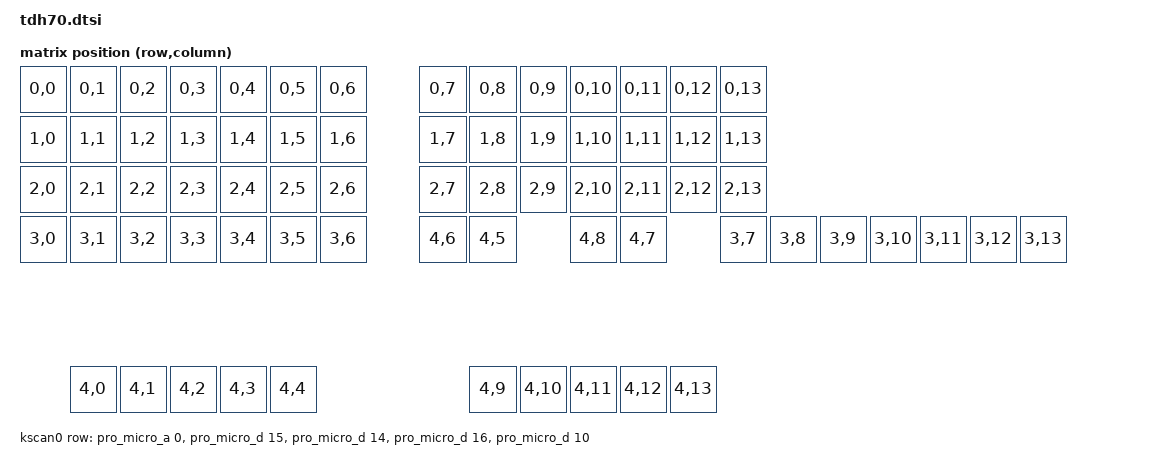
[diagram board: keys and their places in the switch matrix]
/*
 * Copyright (c) 2020 Denis Fortin
 *
 * SPDX-License-Identifier: MIT
 */

#include <dt-bindings/zmk/matrix_transform.h>
#include <physical_layouts.dtsi>

/ {
    chosen {
        zmk,kscan = &kscan0;
        zmk,physical-layout = &physical_layout0;
    };

    default_transform: keymap_transform_0 {
        compatible = "zmk,matrix-transform";
        columns = <16>;
        rows = <5>;
// | SW6  | SW5  | SW4  | SW3  | SW2  | SW1  |                 | SW1  | SW2  | SW3  | SW4  | SW5  | SW6  |
// | SW12 | SW11 | SW10 | SW9  | SW8  | SW7  |                 | SW7  | SW8  | SW9  | SW10 | SW11 | SW12 |
// | SW18 | SW17 | SW16 | SW15 | SW14 | SW13 |                 | SW13 | SW14 | SW15 | SW16 | SW17 | SW18 |
// | SW24 | SW23 | SW22 | SW21 | SW20 | SW19 | SW25 |   | SW25 | SW19 | SW20 | SW21 | SW22 | SW23 | SW24 |
//               | SW30 | SW29 | SW28 | SW27 | SW26 |   | SW26 | SW27 | SW28 | SW29 | SW30 |
        map = <
RC(0,0) RC(0,1) RC(0,2) RC(0,3) RC(0,4) RC(0,5) RC(0,6)                                        RC(0,7) RC(0,8) RC(0,9)  RC(0,10) RC(0,11) RC(0,12) RC(0,13)
RC(1,0) RC(1,1) RC(1,2) RC(1,3) RC(1,4) RC(1,5) RC(1,6)                                        RC(1,7) RC(1,8) RC(1,9)  RC(1,10) RC(1,11) RC(1,12) RC(1,13)
RC(2,0) RC(2,1) RC(2,2) RC(2,3) RC(2,4) RC(2,5) RC(2,6)                                        RC(2,7) RC(2,8) RC(2,9)  RC(2,10) RC(2,11) RC(2,12) RC(2,13)
RC(3,0) RC(3,1) RC(3,2) RC(3,3) RC(3,4) RC(3,5) RC(3,6) RC(4,6) RC(4,5)        RC(4,8) RC(4,7) RC(3,7) RC(3,8) RC(3,9)  RC(3,10) RC(3,11) RC(3,12) RC(3,13)
                                RC(4,0) RC(4,1) RC(4,2) RC(4,3) RC(4,4)        RC(4,9) RC(4,10) RC(4,11) RC(4,12) RC(4,13)
        >;
    };


    physical_layout0: physical_layout0 {
        compatible = "zmk,physical-layout";
        display-name = "Default Layout";
        transform = <&default_transform>;
        keys = <
            /* Positions 0-69, one per key in keymap bindings order.
             * w h x y r rx ry (centi-keyunits); geometry is display-only.
             */
            &key_physical_attrs 100 100    0    0    0    0    0
            &key_physical_attrs 100 100  100    0    0    0    0
            &key_physical_attrs 100 100  200    0    0    0    0
            &key_physical_attrs 100 100  300    0    0    0    0
            &key_physical_attrs 100 100  400    0    0    0    0
            &key_physical_attrs 100 100  500    0    0    0    0
            &key_physical_attrs 100 100  600    0    0    0    0
            &key_physical_attrs 100 100  800    0    0    0    0
            &key_physical_attrs 100 100  900    0    0    0    0
            &key_physical_attrs 100 100 1000    0    0    0    0
            &key_physical_attrs 100 100 1100    0    0    0    0
            &key_physical_attrs 100 100 1200    0    0    0    0
            &key_physical_attrs 100 100 1300    0    0    0    0
            &key_physical_attrs 100 100 1400    0    0    0    0
            &key_physical_attrs 100 100    0  100    0    0    0
            &key_physical_attrs 100 100  100  100    0    0    0
            &key_physical_attrs 100 100  200  100    0    0    0
            &key_physical_attrs 100 100  300  100    0    0    0
            &key_physical_attrs 100 100  400  100    0    0    0
            &key_physical_attrs 100 100  500  100    0    0    0
            &key_physical_attrs 100 100  600  100    0    0    0
            &key_physical_attrs 100 100  800  100    0    0    0
            &key_physical_attrs 100 100  900  100    0    0    0
            &key_physical_attrs 100 100 1000  100    0    0    0
            &key_physical_attrs 100 100 1100  100    0    0    0
            &key_physical_attrs 100 100 1200  100    0    0    0
            &key_physical_attrs 100 100 1300  100    0    0    0
            &key_physical_attrs 100 100 1400  100    0    0    0
            &key_physical_attrs 100 100    0  200    0    0    0
            &key_physical_attrs 100 100  100  200    0    0    0
            &key_physical_attrs 100 100  200  200    0    0    0
            &key_physical_attrs 100 100  300  200    0    0    0
            &key_physical_attrs 100 100  400  200    0    0    0
            &key_physical_attrs 100 100  500  200    0    0    0
            &key_physical_attrs 100 100  600  200    0    0    0
            &key_physical_attrs 100 100  800  200    0    0    0
            &key_physical_attrs 100 100  900  200    0    0    0
            &key_physical_attrs 100 100 1000  200    0    0    0
            &key_physical_attrs 100 100 1100  200    0    0    0
            &key_physical_attrs 100 100 1200  200    0    0    0
            &key_physical_attrs 100 100 1300  200    0    0    0
            &key_physical_attrs 100 100 1400  200    0    0    0
            &key_physical_attrs 100 100    0  300    0    0    0
            &key_physical_attrs 100 100  100  300    0    0    0
            &key_physical_attrs 100 100  200  300    0    0    0
            &key_physical_attrs 100 100  300  300    0    0    0
            &key_physical_attrs 100 100  400  300    0    0    0
            &key_physical_attrs 100 100  500  300    0    0    0
            &key_physical_attrs 100 100  600  300    0    0    0
            &key_physical_attrs 100 100  800  300    0    0    0
            &key_physical_attrs 100 100  900  300    0    0    0
            &key_physical_attrs 100 100 1100  300    0    0    0
            &key_physical_attrs 100 100 1200  300    0    0    0
            &key_physical_attrs 100 100 1400  300    0    0    0
            &key_physical_attrs 100 100 1500  300    0    0    0
            &key_physical_attrs 100 100 1600  300    0    0    0
            &key_physical_attrs 100 100 1700  300    0    0    0
            &key_physical_attrs 100 100 1800  300    0    0    0
            &key_physical_attrs 100 100 1900  300    0    0    0
            &key_physical_attrs 100 100 2000  300    0    0    0
            &key_physical_attrs 100 100  100  600    0    0    0
            &key_physical_attrs 100 100  200  600    0    0    0
            &key_physical_attrs 100 100  300  600    0    0    0
            &key_physical_attrs 100 100  400  600    0    0    0
            &key_physical_attrs 100 100  500  600    0    0    0
            &key_physical_attrs 100 100  900  600    0    0    0
            &key_physical_attrs 100 100 1000  600    0    0    0
            &key_physical_attrs 100 100 1100  600    0    0    0
            &key_physical_attrs 100 100 1200  600    0    0    0
            &key_physical_attrs 100 100 1300  600    0    0    0
        >;
    };

    kscan0: kscan {
        compatible = "zmk,kscan-gpio-matrix";
        label = "KSCAN";
        wakeup-source;

        diode-direction = "col2row";
        row-gpios
            = <&pro_micro_a 0 (GPIO_ACTIVE_HIGH | GPIO_PULL_DOWN)>
            , <&pro_micro_d 15 (GPIO_ACTIVE_HIGH | GPIO_PULL_DOWN)>
            , <&pro_micro_d 14 (GPIO_ACTIVE_HIGH | GPIO_PULL_DOWN)>
            , <&pro_micro_d 16 (GPIO_ACTIVE_HIGH | GPIO_PULL_DOWN)>
            , <&pro_micro_d 10 (GPIO_ACTIVE_HIGH | GPIO_PULL_DOWN)>
            ;
    };

};

